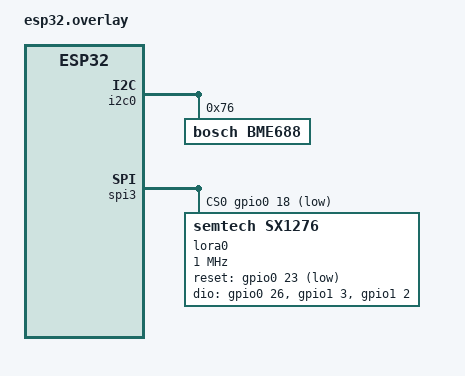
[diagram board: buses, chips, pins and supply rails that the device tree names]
/*
 * Copyright (c) 2022 Espressif Systems (Shanghai) Co., Ltd.
 *
 * SPDX-License-Identifier: Apache-2.0
 */
/*
*	ESP32 https://zephyrproject.org/how-to-set-up-esp32-gpio-pins-in-zephyr-rtos/
*	GPIO0..GPIO31 → port &gpio0, pins 0..31
*	GPIO32..GPIO39 → port &gpio1, pins 0..7
*/
/ {
	aliases {
		/* On ESP32-C3, only GPIO0~5 can be used
		 * as wake-up sources
		 */
    
    };
};

&i2c0 {
	status = "okay";
	bme688: bme688@76 {
		compatible = "bosch,bme688";
		reg = <0x76>;
		label = "BME688";
		status = "okay";
	};

};

&spi3 {
	#address-cells = <1>;
	#size-cells = <0>;
	status = "okay";
	pinctrl-0 = <&spim3_default>;
	pinctrl-names = "default";
	cs-gpios = <&gpio0 18 GPIO_ACTIVE_LOW>;

	lora0: lora@0 {
		compatible = "semtech,sx1276";
		reg = <0>;
		reset-gpios = <&gpio0 23 GPIO_ACTIVE_LOW>;
		dio-gpios =
			    /* SX1276 D0 -> GPIO26 */
			    <&gpio0 26 (GPIO_PULL_DOWN | GPIO_ACTIVE_HIGH)>,
			    /* SX1276 D1 -> GPIO35 */
			    <&gpio1 3 (GPIO_PULL_DOWN | GPIO_ACTIVE_HIGH)>,
			    /* SX1276 D1 -> GPIO34 */
			    <&gpio1 2 (GPIO_PULL_DOWN | GPIO_ACTIVE_HIGH)>;
		spi-max-frequency = <1000000>;
		power-amplifier-output = "pa-boost";
	};
};



